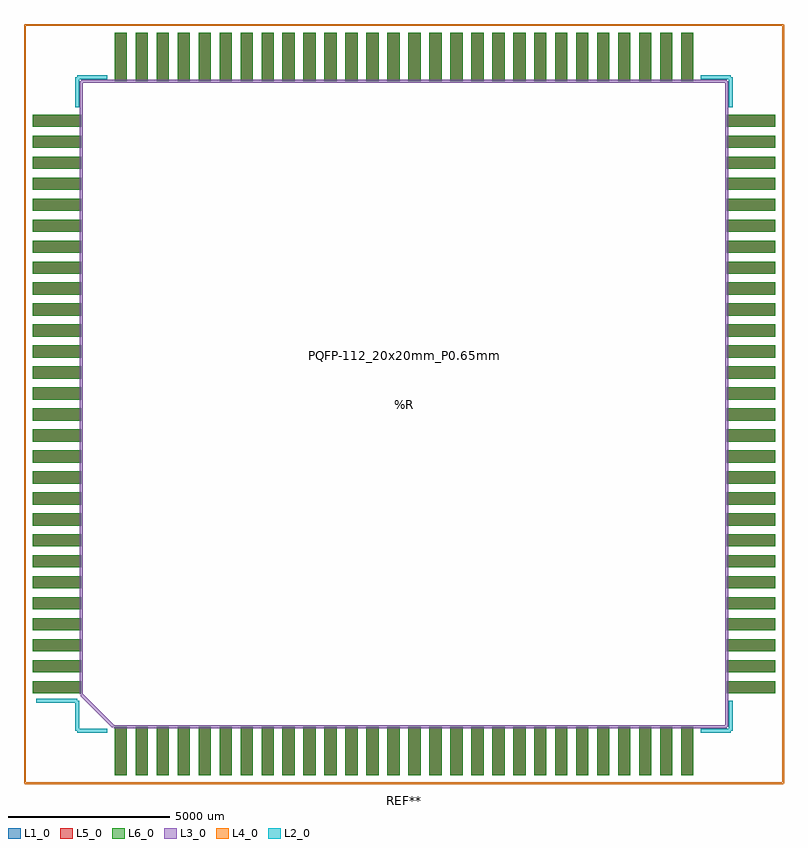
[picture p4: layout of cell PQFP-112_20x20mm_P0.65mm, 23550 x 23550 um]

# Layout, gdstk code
import gdstk
lib = gdstk.Library(unit=1e-6, precision=1e-09)
def R(c, l, rs):  # rectangles x0, y0, x1, y1
    for r in rs: c.add(gdstk.rectangle(r[:2], r[2:], *l))
def A(c, l, x, y, w, h, nx, ny, dx, dy):  # array of equal rectangles
    R(c, l, [(x+i*dx, y+j*dy, x+i*dx+w, y+j*dy+h) for i in range(nx) for j in range(ny)])
L1_0 = (1, 0)
L2_0 = (2, 0)
L3_0 = (3, 0)
L4_0 = (4, 0)
L5_0 = (5, 0)
L6_0 = (6, 0)

pqfp_112_20x20mm_p0_65mm = lib.new_cell('PQFP-112_20x20mm_P0.65mm')
A(pqfp_112_20x20mm_p0_65mm, L1_0, -8965, -11500, 380, 1500, 28, 2, 650, 21500)
A(pqfp_112_20x20mm_p0_65mm, L1_0, -11500, -8965, 1500, 380, 1, 28, 0, 650)
A(pqfp_112_20x20mm_p0_65mm, L1_0, 10000, -8965, 1500, 380, 1, 28, 0, 650)
A(pqfp_112_20x20mm_p0_65mm, L5_0, -8965, -11500, 380, 1500, 28, 2, 650, 21500)
A(pqfp_112_20x20mm_p0_65mm, L5_0, -11500, -8965, 1500, 380, 1, 28, 0, 650)
A(pqfp_112_20x20mm_p0_65mm, L5_0, 10000, -8965, 1500, 380, 1, 28, 0, 650)
A(pqfp_112_20x20mm_p0_65mm, L6_0, -8965, -11500, 380, 1500, 28, 2, 650, 21500)
A(pqfp_112_20x20mm_p0_65mm, L6_0, -11500, -8965, 1500, 380, 1, 28, 0, 650)
A(pqfp_112_20x20mm_p0_65mm, L6_0, 10000, -8965, 1500, 380, 1, 28, 0, 650)
pqfp_112_20x20mm_p0_65mm.add(gdstk.FlexPath([(11750,-11750),(11750,11750)], 50, ends="flush", simple_path=True, layer=4, datatype=0))  # L4_0
pqfp_112_20x20mm_p0_65mm.add(gdstk.FlexPath([(-11750,-11750),(11750,-11750)], 50, ends="flush", simple_path=True, layer=4, datatype=0))  # L4_0
pqfp_112_20x20mm_p0_65mm.add(gdstk.FlexPath([(10120,-10120),(10120,-9200)], 120, ends="flush", simple_path=True, layer=2, datatype=0))  # L2_0
pqfp_112_20x20mm_p0_65mm.add(gdstk.FlexPath([(9200,-10120),(10120,-10120)], 120, ends="flush", simple_path=True, layer=2, datatype=0))  # L2_0
pqfp_112_20x20mm_p0_65mm.add(gdstk.FlexPath([(-9000,-10000),(-10000,-9000)], 100, ends="flush", simple_path=True, layer=3, datatype=0))  # L3_0
pqfp_112_20x20mm_p0_65mm.add(gdstk.FlexPath([(10000,10000),(10000,-10000)], 100, ends="flush", simple_path=True, layer=3, datatype=0))  # L3_0
pqfp_112_20x20mm_p0_65mm.add(gdstk.FlexPath([(-10000,-9000),(-10000,10000)], 100, ends="flush", simple_path=True, layer=3, datatype=0))  # L3_0
pqfp_112_20x20mm_p0_65mm.add(gdstk.FlexPath([(-9000,-10000),(10000,-10000)], 100, ends="flush", simple_path=True, layer=3, datatype=0))  # L3_0
pqfp_112_20x20mm_p0_65mm.add(gdstk.FlexPath([(10000,10000),(-10000,10000)], 100, ends="flush", simple_path=True, layer=3, datatype=0))  # L3_0
pqfp_112_20x20mm_p0_65mm.add(gdstk.FlexPath([(9200,10120),(10120,10120)], 120, ends="flush", simple_path=True, layer=2, datatype=0))  # L2_0
pqfp_112_20x20mm_p0_65mm.add(gdstk.FlexPath([(10120,10120),(10120,9200)], 120, ends="flush", simple_path=True, layer=2, datatype=0))  # L2_0
pqfp_112_20x20mm_p0_65mm.add(gdstk.FlexPath([(-10120,-10120),(-10120,-9200)], 120, ends="flush", simple_path=True, layer=2, datatype=0))  # L2_0
pqfp_112_20x20mm_p0_65mm.add(gdstk.FlexPath([(-9200,-10120),(-10120,-10120)], 120, ends="flush", simple_path=True, layer=2, datatype=0))  # L2_0
pqfp_112_20x20mm_p0_65mm.add(gdstk.FlexPath([(-10120,10120),(-10120,9200)], 120, ends="flush", simple_path=True, layer=2, datatype=0))  # L2_0
pqfp_112_20x20mm_p0_65mm.add(gdstk.FlexPath([(-9200,10120),(-10120,10120)], 120, ends="flush", simple_path=True, layer=2, datatype=0))  # L2_0
pqfp_112_20x20mm_p0_65mm.add(gdstk.FlexPath([(-11400,-9200),(-10120,-9200)], 120, ends="flush", simple_path=True, layer=2, datatype=0))  # L2_0
pqfp_112_20x20mm_p0_65mm.add(gdstk.FlexPath([(-11750,-11750),(-11750,11750)], 50, ends="flush", simple_path=True, layer=4, datatype=0))  # L4_0
pqfp_112_20x20mm_p0_65mm.add(gdstk.FlexPath([(-11750,11750),(11750,11750)], 50, ends="flush", simple_path=True, layer=4, datatype=0))  # L4_0
pqfp_112_20x20mm_p0_65mm.add(gdstk.Label('REF**', (0,-12500), layer=2, texttype=0))
pqfp_112_20x20mm_p0_65mm.add(gdstk.Label('PQFP-112_20x20mm_P0.65mm', (0,1500), layer=3, texttype=0))
pqfp_112_20x20mm_p0_65mm.add(gdstk.Label('%R', (0,0), layer=3, texttype=0))

lib.write_gds('PQFP-112_20x20mm_P0.65mm.gds')
